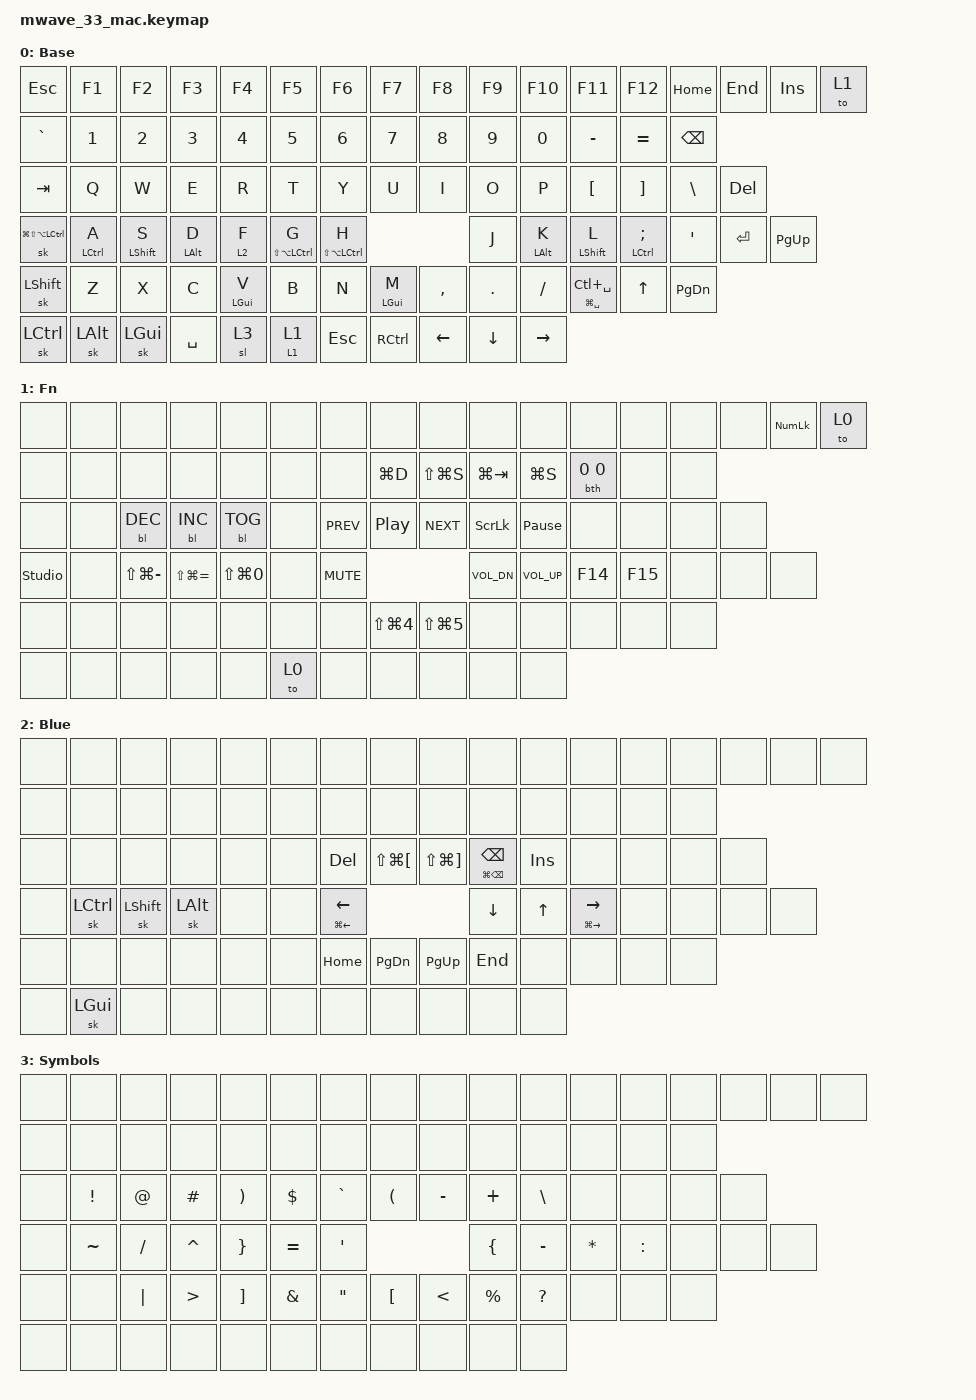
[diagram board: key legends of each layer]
#include <behaviors.dtsi>
#include <dt-bindings/zmk/backlight.h>
#include <dt-bindings/zmk/bt.h>
#include <dt-bindings/zmk/keys.h>
#include <dt-bindings/zmk/pointing.h>
#include <dt-bindings/zmk/outputs.h>
#include <dt-bindings/advertising_mode.h>
#include <behaviors/advertising_mode.dtsi>
#include <behaviors/stp_indicators.dtsi>
#include "studio-macros.dtsi"

&sk {
    release-after-ms = <1000>;
};

/ {
    #include "mwave_prim.dtsi"

    behaviors {
        hmt: home_row_mod_tap {
            compatible = "zmk,behavior-hold-tap";
            #binding-cells = <2>;
            flavor = "tap-preferred";
            tapping-term-ms = <200>;
            quick-tap-ms = <200>;
            bindings = <&kp>, <&kp>;
            display-name = "Home Row Mod Tap";
        };

        lsl: layer_sticky_momentary {
            compatible = "zmk,behavior-hold-tap";
            #binding-cells = <2>;
            flavor = "tap-preferred";
            tapping-term-ms = <200>;
            bindings = <&mo>, <&sl>;
        };
    };

    keymap {
        compatible = "zmk,keymap";

        default_layer {
            display-name = "Base";

            // -------------------------------------------------------------------------------------------------------
            // | ESC | F1  | F2  | F3  | F4  | F5  | F6  | | F7  | F8  | F9  | F10 | F11 | F12 |HOME| END | INS|  FN |
            // |GRAVE|  1  |  2  |  3  |  4  |  5  |  6  | |   7   |  8  |  9  |  0  |  -  |  =  |    BKSP     | DEL |
            // | TAB    |  Q  |  W  |  E  |  R  |   T    | |   Y  |  U  |  I  |  O  |  P  |  [  |  ]  |   \    |     |
            // | CAPS     |  A  |  S  |  D  |  F  |  G   | |  H    |  J  |  K  |  L  |  ;  |  '  |    ENTER    | PGUP|
            // |   SHIFT   |  Z  |  X  |  C  |  V  |  B  | |    N    |  M  |  ,  |  .  |  /  |   SHIFT   | UP  | PGDN|
            // |  CTL  |  WIN  |  ALT  |      SPACE      | |      SPACE        | ALT | MENU |RCTRL| LEFT| DOWN |RIGHT|
            // -------------------------------------------------------------------------------------------------------

            bindings = <
&kp ESC    &kp F1        &kp F2        &kp F3        &kp F4      &kp F5         &kp F6         &kp F7        &kp F8     &kp F9                    &kp F10           &kp F11        &kp F12     &kp HOME        &kp END          &kp INSERT   &to 1
&kp GRAVE  &kp N1        &kp N2        &kp N3        &kp N4      &kp N5         &kp N6         &kp N7        &kp N8     &kp N9                    &kp N0            &kp MINUS      &kp EQUAL   &kp BSPC
&kp TAB    &kp Q         &kp W         &kp E         &kp R       &kp T          &kp Y          &kp U         &kp I      &kp O                     &kp P             &kp LBKT       &kp RBKT    &kp BSLH        &kp DEL
&sk LG(LS(LA(LCTRL)))  &hmt LCTRL A  &hmt LSHFT S  &hmt LEFT_ALT D  &lt 2 F  &hmt LS(LA(LCTRL)) G    &hmt LS(LA(LCTRL)) H    &kp J         &hmt LEFT_ALT K  &hmt LSHFT L        &hmt LCTRL SEMI   &kp SQT        &kp RET     &kp PG_UP
&sk LSHFT  &kp Z         &kp X         &kp C         &hmt LGUI V  &kp B  &kp N  &hmt LGUI M  &kp COMMA  &kp DOT           &kp FSLH          &hmt LG(SPACE) LC(SPACE)  &kp UP      &kp PG_DN
&sk LCTRL  &sk LALT     &sk LGUI      &kp SPACE     &sl 3  &lsl 1 1  &kp ESC  &kp RCTRL  &kp LEFT   &kp DOWN                  &kp RIGHT
            >;
        };

        raise {
            display-name = "Fn";
            bindings = <
&none           &none       &none         &none         &none       &none     &none       &none       &none      &none          &none            &none      &none     &none           &none            &kp KP_NUMLOCK  &to 0
&none           &none       &none         &none         &none       &none     &none       &kp LG(D)   &kp LS(LG(S))  &kp LG(TAB)  &kp LG(S)   &bth 0 0   &none     &none
&none           &none       &bl BL_DEC    &bl BL_INC    &bl BL_TOG  &none       &kp C_PREV  &kp C_PP  &kp C_NEXT  &kp SCROLLLOCK  &kp PAUSE_BREAK  &none  &none     &none           &none
&studio_unlock  &none       &kp LS(LG(MINUS))  &kp LS(LG(EQUAL))  &kp LS(LG(N0))  &none  &kp C_MUTE  &kp C_VOL_DN  &kp C_VOL_UP  &kp F14  &kp F15  &none  &none  &none
&none           &none       &none         &none         &none       &none     &none       &kp LS(LG(N4))  &kp LS(LG(N5))  &none  &none            &none      &none     &none
&none           &none       &none         &none         &none           &to 0           &none  &none  &none  &none  &none
            >;
        };

        extra1 {
            display-name = "Blue";
            bindings = <
&none  &none       &none       &none       &none       &none       &none       &none               &none               &none                &none       &none  &none  &none  &none  &none  &none
&none  &none       &none       &none       &none       &none       &none       &none               &none               &none                &none       &none  &none  &none
&none  &none       &none       &none       &none       &none       &kp DEL     &kp LS(LG(LBKT))   &kp LS(LG(RBKT))   &hmt LG(BSPC) BSPC  &kp INSERT  &none  &none  &none  &none
&none  &sk LCTRL   &sk LSHFT   &sk LALT    &none       &none       &hmt LG(LEFT) LEFT  &kp DOWN   &kp UP              &hmt LG(RIGHT) RIGHT &none       &none  &none  &none
&none  &none       &none       &none       &none       &none       &kp HOME    &kp PG_DN           &kp PG_UP           &kp END              &none       &none  &none  &none
&none  &sk LGUI    &none       &none       &none       &none       &none       &none               &none               &none                &none
            >;
        };


        extra3 {
            display-name = "Symbols";
            bindings = <
&none  &none        &none       &none        &none        &none        &none        &none        &none        &none        &none        &none        &none        &none        &none        &none        &none
&none  &none        &none       &none        &none        &none        &none        &none        &none        &none        &none        &none        &none        &none
&none  &kp EXCL     &kp AT      &kp HASH     &kp RPAR     &kp DLLR     &kp GRAVE    &kp LPAR     &kp MINUS    &kp PLUS     &kp BSLH     &none        &none        &none        &none
&none  &kp TILDE    &kp FSLH    &kp CARET    &kp RBRC     &kp EQUAL    &kp SQT      &kp LBRC     &kp MINUS    &kp ASTRK    &kp COLON    &none        &none        &none
&none  &none        &kp PIPE    &kp GT       &kp RBKT     &kp AMPS     &kp DQT      &kp LBKT     &kp LT       &kp PRCNT    &kp QMARK    &none        &none        &none
&none  &none        &none       &none        &none        &none        &none        &none        &none        &none        &none
            >;
        };

        extra4 {
            display-name = "Purple";
            status = "reserved";
        };

        extra5 {
            display-name = "Cyan";
            status = "reserved";
        };

        extra6 {
            display-name = "Yellow";
            status = "reserved";
        };
    };
};
